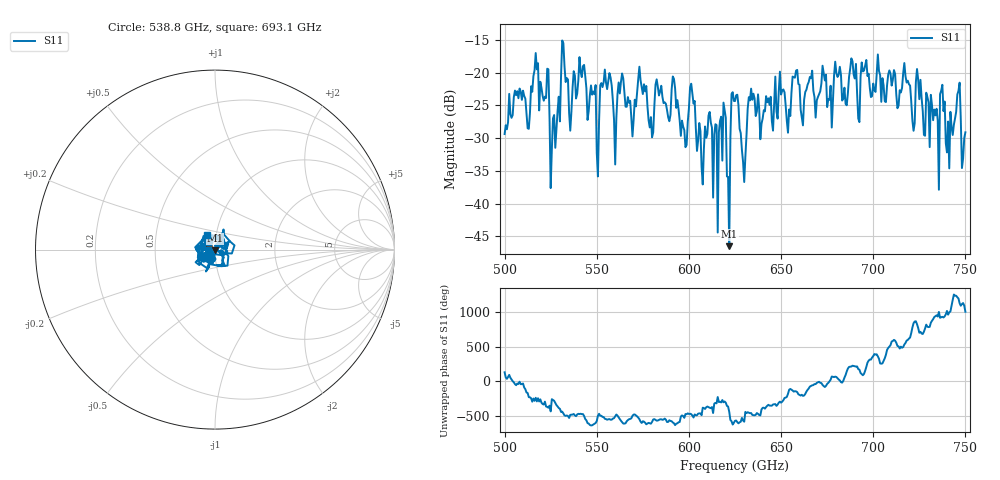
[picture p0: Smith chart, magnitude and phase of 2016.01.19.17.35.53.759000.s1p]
!Created with skrf (http://scikit-rf.org).
# GHz S RI R 50.0
!freq ReS11 ImS11
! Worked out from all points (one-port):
!   401 points, 500 GHz to 750 GHz, reference 50 ohm
!   lowest |S11| = -46.5 dB at 621.9 GHz (marker M1), VSWR 1.01, Z = 50.1 - j0.467 ohm
!   |S11| at or under -10 dB: start of sweep to end of sweep
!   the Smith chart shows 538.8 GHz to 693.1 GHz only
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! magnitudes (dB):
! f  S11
! 500 GHz  -29.4
! 512.5 GHz  -28.5
! 516.9 GHz  -17.0
! 526.2 GHz  -27.0
! 531.2 GHz  -15.1
! 535.6 GHz  -28.8
! 541.9 GHz  -20.7
! 550 GHz  -32.2
! 553.1 GHz  -22.2
! 560 GHz  -34.0
! 562.5 GHz  -23.2
! 593.8 GHz  -24.2
! 598.1 GHz  -31.4
! 601.9 GHz  -23.2
! 614.4 GHz  -27.9
! 618.8 GHz  -24.6
! 621.9 GHz  -46.5
! 625 GHz  -24.3
! 630 GHz  -36.7
! 633.8 GHz  -22.4
! 656.2 GHz  -20.6
! 687.5 GHz  -19.4
! 718.8 GHz  -21.2
! 734.4 GHz  -25.5
! 737.5 GHz  -21.8
! 740.6 GHz  -27.5
! 746.2 GHz  -22.8
! 750 GHz  -29.1
